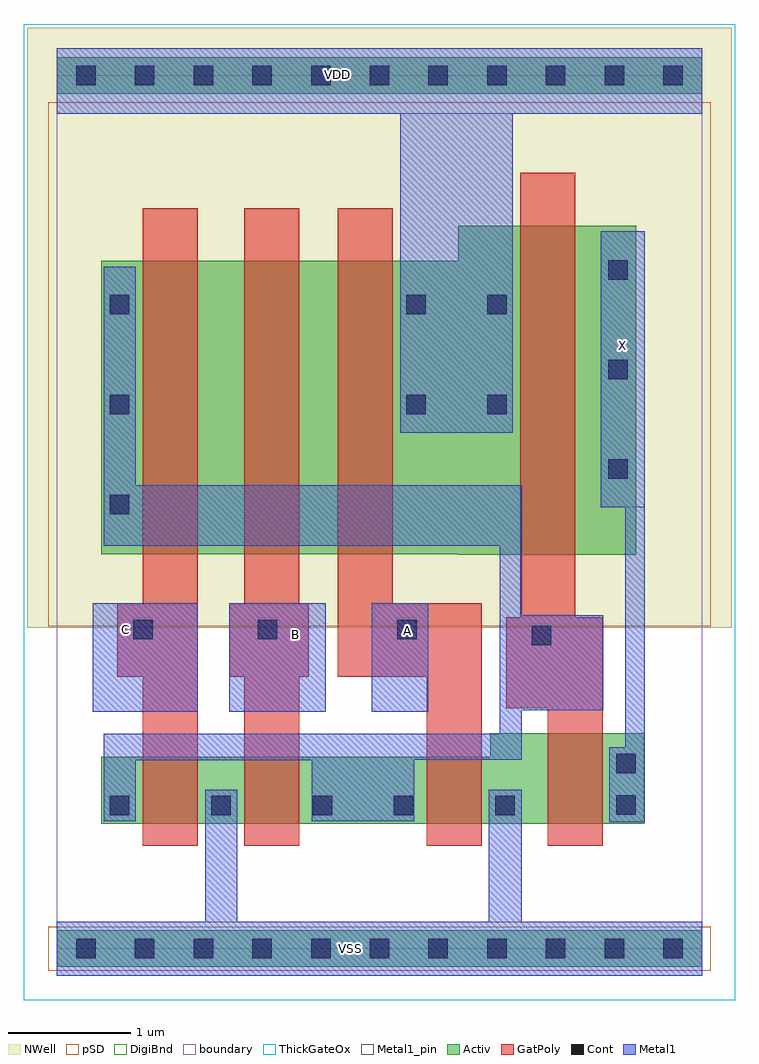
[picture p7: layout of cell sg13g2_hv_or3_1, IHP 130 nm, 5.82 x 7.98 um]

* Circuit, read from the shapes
.subckt sg13g2_hv_or3_1 A B C VDD VSS X
XM1 VSS C n1 VSS sg13_hv_nmos w=0.55u l=0.45u
XM2 n1 B VSS VSS sg13_hv_nmos w=0.55u l=0.45u
XM3 VSS A n1 VSS sg13_hv_nmos w=0.55u l=0.45u
XM4 X n1 VSS VSS sg13_hv_nmos w=0.74u l=0.45u
XM5 n2 C n1 VDD sg13_hv_pmos w=2.4u l=0.45u
XM6 n3 B n2 VDD sg13_hv_pmos w=2.4u l=0.45u
XM7 VDD A n3 VDD sg13_hv_pmos w=2.4u l=0.45u
XM8 X n1 VDD VDD sg13_hv_pmos w=2.69u l=0.45u
.ends

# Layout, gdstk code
import gdstk
lib = gdstk.Library(unit=1e-6, precision=1e-09)
def R(c, l, rs):  # rectangles x0, y0, x1, y1
    for r in rs: c.add(gdstk.rectangle(r[:2], r[2:], *l))
def A(c, l, x, y, w, h, nx, ny, dx, dy):  # array of equal rectangles
    R(c, l, [(x+i*dx, y+j*dy, x+i*dx+w, y+j*dy+h) for i in range(nx) for j in range(ny)])
def P(c, l, *ps):  # polygons
    for p in ps: c.add(gdstk.Polygon(p, *l))
Activ = (1, 0)
GatPoly = (5, 0)
Cont = (6, 0)
Metal1 = (8, 0)
Metal1_pin = (8, 2)
pSD = (14, 0)
DigiBnd = (16, 0)
NWell = (31, 0)
ThickGateOx = (44, 0)
boundary = (189, 4)

sg13g2_hv_or3_1 = lib.new_cell('sg13g2_hv_or3_1')
R(sg13g2_hv_or3_1, Activ, [(0,-0.15,5.28,0.15), (0,6.99,5.28,7.29)])
P(sg13g2_hv_or3_1, Activ, [(0.365,1.02),(0.365,1.57),(3.545,1.57),(3.545,1.76),(4.805,1.76),(4.805,1.02)],
  [(3.285,3.22),(3.285,3.225),(0.365,3.225),(0.365,5.625),(3.285,5.625),(3.285,5.91),(4.74,5.91),(4.74,3.22)])
P(sg13g2_hv_or3_1, GatPoly, [(1.535,0.84),(1.535,2.225),(1.41,2.225),(1.41,2.825),(1.535,2.825),(1.535,6.055),(1.985,6.055),(1.985,2.825),(2.06,2.825),(2.06,2.225),(1.985,2.225),(1.985,0.84)],
  [(0.705,0.84),(0.705,2.225),(0.495,2.225),(0.495,2.825),(0.705,2.825),(0.705,6.055),(1.155,6.055),(1.155,0.84)],
  [(3.025,0.84),(3.025,2.225),(2.3,2.225),(2.3,6.055),(2.75,6.055),(2.75,2.825),(3.475,2.825),(3.475,0.84)],
  [(4.015,0.84),(4.015,1.965),(3.675,1.965),(3.675,2.71),(3.79,2.71),(3.79,6.345),(4.24,6.345),(4.24,2.71),(4.465,2.71),(4.465,0.84)])
A(sg13g2_hv_or3_1, Cont, 0.16, -0.08, 0.16, 0.16, 11, 2, 0.48, 7.14)
A(sg13g2_hv_or3_1, Cont, 0.435, 1.09, 0.16, 0.16, 3, 1, 0.83, 0)
A(sg13g2_hv_or3_1, Cont, 4.51, 3.84, 0.16, 0.16, 1, 3, 0, 0.815)
R(sg13g2_hv_or3_1, Cont, [(2.755,1.09,2.915,1.25), (3.585,1.09,3.745,1.25), (4.575,1.095,4.735,1.255), (4.575,1.435,4.735,1.595), (3.885,2.48,4.045,2.64), (0.625,2.53,0.785,2.69), (1.645,2.53,1.805,2.69), (2.785,2.53,2.945,2.69), (0.435,3.55,0.595,3.71), (0.435,4.37,0.595,4.53), (2.86,4.37,3.02,4.53), (3.52,4.37,3.68,4.53), (0.435,5.185,0.595,5.345), (2.86,5.185,3.02,5.345), (3.52,5.185,3.68,5.345)])
R(sg13g2_hv_or3_1, Metal1, [(0.295,1.935,1.155,2.825), (1.41,1.935,2.2,2.825), (2.575,1.935,3.04,2.825)])
P(sg13g2_hv_or3_1, Metal1, [(4.52,1.035),(4.52,1.645),(4.65,1.645),(4.65,3.61),(4.45,3.61),(4.45,5.865),(4.81,5.865),(4.81,1.035)],
  [(0.385,1.04),(0.385,1.755),(3.625,1.755),(3.625,3.295),(0.385,3.295),(0.385,5.575),(0.645,5.575),(0.645,3.79),(3.805,3.79),(3.805,2.725),(4.47,2.725),(4.47,1.95),(3.805,1.95),(3.805,1.545),(2.925,1.545),(2.925,1.04),(2.085,1.04),(2.085,1.54),(0.645,1.54),(0.645,1.04)],
  [(2.81,4.22),(2.81,6.825),(0,6.825),(0,7.36),(5.28,7.36),(5.28,6.825),(3.73,6.825),(3.73,4.22)],
  [(0,-0.22),(0,0.22),(1.215,0.22),(1.215,1.3),(1.475,1.3),(1.475,0.22),(3.535,0.22),(3.535,1.3),(3.805,1.3),(3.805,0.22),(5.28,0.22),(5.28,-0.22)])
R(sg13g2_hv_or3_1, Metal1_pin, [(0,-0.22,5.28,0.22), (0.295,1.935,1.155,2.825), (1.41,1.935,2.2,2.825), (2.575,1.935,3.04,2.825), (4.45,3.61,4.81,5.865), (0,6.825,5.28,7.36)])
R(sg13g2_hv_or3_1, pSD, [(-0.07,-0.18,5.35,0.18), (-0.07,2.635,5.35,6.92)])
R(sg13g2_hv_or3_1, DigiBnd, [(0,0,5.28,7.14)])
R(sg13g2_hv_or3_1, NWell, [(-0.24,2.625,5.52,7.53)])
R(sg13g2_hv_or3_1, ThickGateOx, [(-0.27,-0.42,5.55,7.56)])
R(sg13g2_hv_or3_1, boundary, [(0,0,5.28,7.14)])
sg13g2_hv_or3_1.add(gdstk.Label('VDD', (2.295,7.15), layer=8, texttype=25))
sg13g2_hv_or3_1.add(gdstk.Label('VSS', (2.405,0.005), layer=8, texttype=25))
sg13g2_hv_or3_1.add(gdstk.Label('C', (0.565,2.61), layer=8, texttype=25))
sg13g2_hv_or3_1.add(gdstk.Label('B', (1.95,2.57), layer=8, texttype=25))
sg13g2_hv_or3_1.add(gdstk.Label('A', (2.87,2.6), layer=8, texttype=25))
sg13g2_hv_or3_1.add(gdstk.Label('X', (4.625,4.93), layer=8, texttype=25))

lib.write_gds('sg13g2_hv_or3_1.gds')
